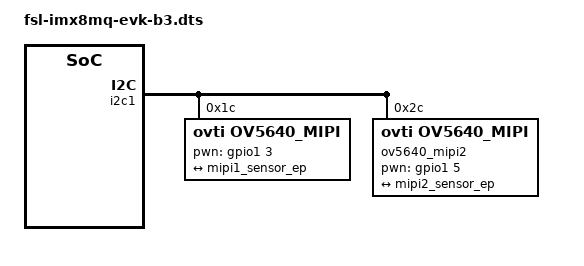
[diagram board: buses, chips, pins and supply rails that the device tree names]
/*
 * Copyright 2018 NXP
 *
 * This program is free software; you can redistribute it and/or
 * modify it under the terms of the GNU General Public License
 * as published by the Free Software Foundation; either version 2
 * of the License, or (at your option) any later version.
 *
 * This program is distributed in the hope that it will be useful,
 * but WITHOUT ANY WARRANTY; without even the implied warranty of
 * MERCHANTABILITY or FITNESS FOR A PARTICULAR PURPOSE.  See the
 * GNU General Public License for more details.
 */

#include "fsl-imx8mq-evk.dts"

/delete-node/ &ov5640_mipi;
/delete-node/ &ov5640_mipi2;

&i2c1 {
	ov5640_mipi: ov5640_mipi@1c {
		compatible = "ovti,ov5640_mipi";
		reg = <0x1c>;
		status = "okay";
		pinctrl-names = "default";
		pinctrl-0 = <&pinctrl_csi1_pwn>, <&pinctrl_csi_rst>;
		clocks = <&clk IMX8MQ_CLK_CLKO2_DIV>;
		clock-names = "csi_mclk";
		assigned-clocks = <&clk IMX8MQ_CLK_CLKO2_SRC>,
				  <&clk IMX8MQ_CLK_CLKO2_DIV>;
		assigned-clock-parents = <&clk IMX8MQ_SYS2_PLL_200M>;
		assigned-clock-rates = <0>, <20000000>;
		csi_id = <0>;
		pwn-gpios = <&gpio1 3 GPIO_ACTIVE_HIGH>;
		mclk = <20000000>;
		mclk_source = <0>;
		port {
			ov5640_mipi1_ep: endpoint {
				remote-endpoint = <&mipi1_sensor_ep>;
			};
		};
	};

	ov5640_mipi2: ov5640_mipi2@2c {
		compatible = "ovti,ov5640_mipi";
		reg = <0x2c>;
		status = "okay";
		pinctrl-names = "default";
		pinctrl-0 = <&pinctrl_csi2_pwn>;
		clocks = <&clk IMX8MQ_CLK_CLKO2_DIV>;
		clock-names = "csi_mclk";
		assigned-clocks = <&clk IMX8MQ_CLK_CLKO2_SRC>,
				  <&clk IMX8MQ_CLK_CLKO2_DIV>;
		assigned-clock-parents = <&clk IMX8MQ_SYS2_PLL_200M>;
		assigned-clock-rates = <0>, <20000000>;
		csi_id = <1>;
		pwn-gpios = <&gpio1 5 GPIO_ACTIVE_HIGH>;
		mclk = <20000000>;
		mclk_source = <0>;
		port {
			ov5640_mipi2_ep: endpoint {
				remote-endpoint = <&mipi2_sensor_ep>;
			};
		};
	};
};

&i2c2 {
	status = "disabled";
};
